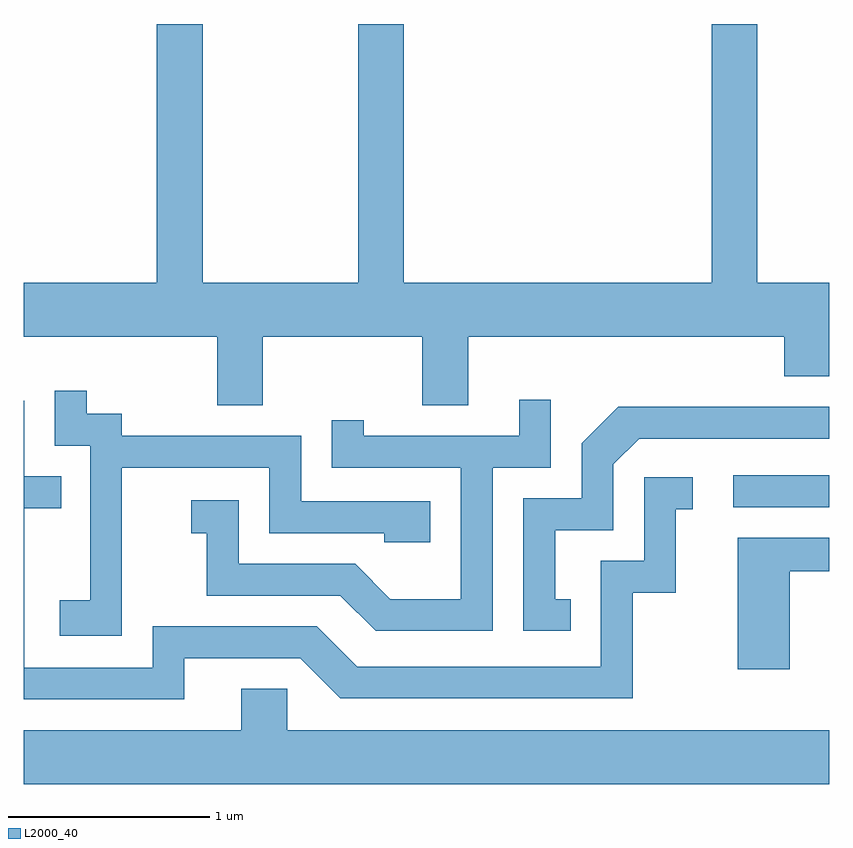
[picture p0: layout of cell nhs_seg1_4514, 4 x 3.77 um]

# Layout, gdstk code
import gdstk
lib = gdstk.Library(unit=1e-6, precision=1e-09)
def R(c, l, rs):  # rectangles x0, y0, x1, y1
    for r in rs: c.add(gdstk.rectangle(r[:2], r[2:], *l))
def P(c, l, *ps):  # polygons
    for p in ps: c.add(gdstk.Polygon(p, *l))
L2000_40 = (2000, 40)

nhs_seg1_4514 = lib.new_cell('nhs_seg1_4514')
R(nhs_seg1_4514, L2000_40, [(325.133,843.231,325.611,843.389)])
P(nhs_seg1_4514, L2000_40, [(322.799,844.076),(323.591,844.076),(323.591,843.736),(323.819,843.736),(323.819,844.076),(325.386,844.076),(325.386,843.881),(325.611,843.881),(325.611,844.344),(325.254,844.344),(325.254,845.629),(325.026,845.629),(325.026,844.344),(323.499,844.344),(323.499,845.629),(323.271,845.629),(323.271,844.344),(322.499,844.344),(322.499,845.629),(322.271,845.629),(322.271,844.344),(321.611,844.344),(321.611,844.076),(322.571,844.076),(322.571,843.736),(322.799,843.736)],
  [(322.099,843.426),(322.831,843.426),(322.831,843.101),(323.401,843.101),(323.401,843.056),(323.629,843.056),(323.629,843.259),(322.989,843.259),(322.989,843.584),(322.099,843.584),(322.099,843.694),(321.924,843.694),(321.924,843.808),(321.766,843.808),(321.766,843.536),(321.941,843.536),(321.941,842.769),(321.791,842.769),(321.791,842.591),(322.099,842.591)],
  [(323.939,843.426),(324.229,843.426),(324.229,843.763),(324.071,843.763),(324.071,843.584),(323.299,843.584),(323.299,843.663),(323.141,843.663),(323.141,843.426),(323.781,843.426),(323.781,842.774),(323.432,842.774),(323.257,842.949),(322.679,842.949),(322.679,843.264),(322.443,843.264),(322.443,843.101),(322.521,843.101),(322.521,842.791),(323.184,842.791),(323.359,842.616),(323.939,842.616)],
  [(322.409,842.481),(322.984,842.481),(323.184,842.281),(324.634,842.281),(324.634,842.806),(324.849,842.806),(324.849,843.221),(324.933,843.221),(324.933,843.379),(324.691,843.379),(324.691,842.964),(324.476,842.964),(324.476,842.439),(323.267,842.439),(323.067,842.639),(322.251,842.639),(322.251,842.434),(321.614,842.434),(321.614,843.226),(321.798,843.226),(321.798,843.384),(321.614,843.384),(321.614,843.759),(321.611,843.759),(321.611,842.276),(322.409,842.276)],
  [(324.328,842.774),(324.249,842.774),(324.249,843.116),(324.539,843.116),(324.539,843.444),(324.667,843.571),(325.611,843.571),(325.611,843.729),(324.564,843.729),(324.381,843.547),(324.381,843.274),(324.091,843.274),(324.091,842.616),(324.328,842.616)],
  [(325.414,842.911),(325.611,842.911),(325.611,843.079),(325.156,843.079),(325.156,842.426),(325.414,842.426)],
  [(325.611,842.124),(322.919,842.124),(322.919,842.329),(322.691,842.329),(322.691,842.124),(321.611,842.124),(321.611,841.856),(325.611,841.856)])

lib.write_gds('nhs_seg1_4514.gds')
